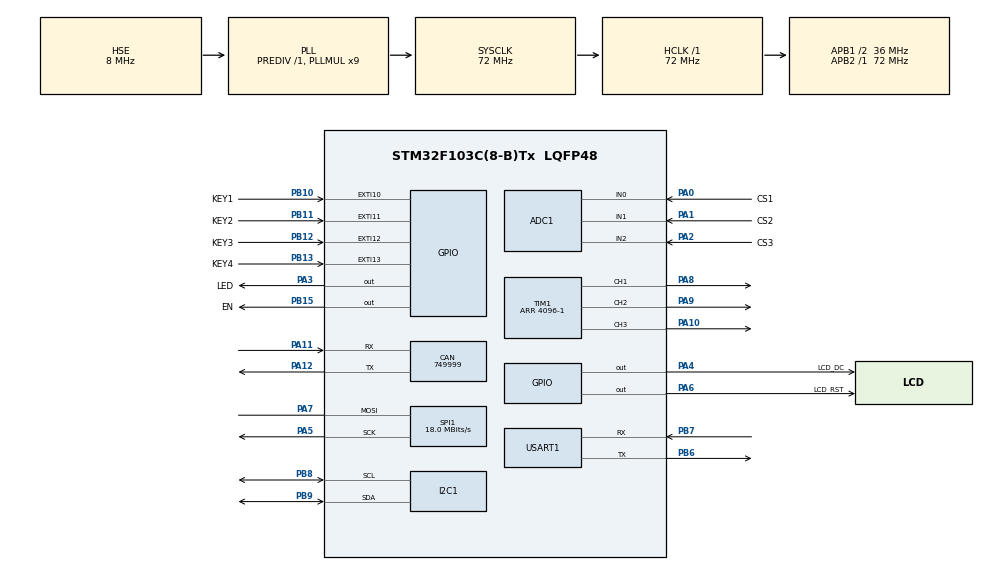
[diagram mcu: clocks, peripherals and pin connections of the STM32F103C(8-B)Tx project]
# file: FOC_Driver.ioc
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ADC1.Channel-0\#ChannelRegularConversion=ADC_CHANNEL_0
ADC1.Channel-1\#ChannelRegularConversion=ADC_CHANNEL_1
ADC1.Channel-2\#ChannelRegularConversion=ADC_CHANNEL_2
ADC1.DiscontinuousConvMode=ENABLE
ADC1.ExternalTrigConv=ADC_SOFTWARE_START
ADC1.NbrOfConversion=3
ADC1.NbrOfConversionFlag=1
ADC1.Rank-0\#ChannelRegularConversion=1
ADC1.Rank-1\#ChannelRegularConversion=2
ADC1.Rank-2\#ChannelRegularConversion=3
ADC1.SamplingTime-0\#ChannelRegularConversion=ADC_SAMPLETIME_7CYCLES_5
ADC1.SamplingTime-1\#ChannelRegularConversion=ADC_SAMPLETIME_7CYCLES_5
ADC1.SamplingTime-2\#ChannelRegularConversion=ADC_SAMPLETIME_7CYCLES_5
ADC1.master=1
CAN.CalculateBaudRate=749999
CAN.CalculateTimeBit=1333
CAN.CalculateTimeQuantum=444.44444444444446
FREERTOS.HEAP_NUMBER=4
FREERTOS.INCLUDE_vTaskDelayUntil=1
FREERTOS.Tasks01=defaultTask,-3,64,StartDefaultTask,Default,NULL,Dynamic,NULL,NULL
FREERTOS.configMINIMAL_STACK_SIZE=64
FREERTOS.configTOTAL_HEAP_SIZE=12000
FREERTOS.configUSE_NEWLIB_REENTRANT=1
I2C1.I2C_Mode=I2C_Fast
Mcu.Family=STM32F1
Mcu.Name=STM32F103C(8-B)Tx
Mcu.Package=LQFP48
NVIC.EXTI15_10_IRQn=true\:5\:0\:false\:false\:true\:true\:true\:true\:true
NVIC.PriorityGroup=NVIC_PRIORITYGROUP_4
NVIC.TIM4_IRQn=true\:15\:0\:false\:false\:true\:false\:false\:true\:true
NVIC.TimeBase=TIM4_IRQn
NVIC.TimeBaseIP=TIM4
PA0-WKUP.GPIO_Label=CS1
PA0-WKUP.Signal=SharedAnalog_PA0
PA1.GPIO_Label=CS2
PA1.Signal=SharedAnalog_PA1
PA10.Signal=S_TIM1_CH3
PA11.Mode=CAN_Activate
PA11.Signal=CAN_RX
PA12.Mode=CAN_Activate
PA12.Signal=CAN_TX
PA13.Mode=Serial_Wire
PA13.Signal=SYS_JTMS-SWDIO
PA14.Mode=Serial_Wire
PA14.Signal=SYS_JTCK-SWCLK
PA2.GPIO_Label=CS3
PA2.Signal=SharedAnalog_PA2
PA3.GPIO_Label=LED
PA3.Signal=GPIO_Output
PA4.GPIO_Label=LCD_DC
PA4.Signal=GPIO_Output
PA5.Mode=Simplex_Bidirectional_Master
PA5.Signal=SPI1_SCK
PA6.GPIO_Label=LCD_RST
PA6.Signal=GPIO_Output
PA7.Mode=Simplex_Bidirectional_Master
PA7.Signal=SPI1_MOSI
PA8.Signal=S_TIM1_CH1
PA9.Signal=S_TIM1_CH2
PB10.GPIO_Label=KEY1
PB10.GPIO_ModeDefaultEXTI=GPIO_MODE_IT_FALLING
PB10.Signal=GPXTI10
PB11.GPIO_Label=KEY2
PB11.GPIO_ModeDefaultEXTI=GPIO_MODE_IT_FALLING
PB11.Signal=GPXTI11
PB12.GPIO_Label=KEY3
PB12.GPIO_ModeDefaultEXTI=GPIO_MODE_IT_FALLING
PB12.Signal=GPXTI12
PB13.GPIO_Label=KEY4
PB13.GPIO_ModeDefaultEXTI=GPIO_MODE_IT_FALLING
PB13.Signal=GPXTI13
PB15.GPIO_Label=EN
PB15.Signal=GPIO_Output
PB6.Mode=Asynchronous
PB6.Signal=USART1_TX
PB7.Mode=Asynchronous
PB7.Signal=USART1_RX
PB8.Mode=I2C
PB8.Signal=I2C1_SCL
PB9.Mode=I2C
PB9.Signal=I2C1_SDA
PD0-OSC_IN.Mode=HSE-External-Oscillator
PD0-OSC_IN.Signal=RCC_OSC_IN
PD1-OSC_OUT.Mode=HSE-External-Oscillator
PD1-OSC_OUT.Signal=RCC_OSC_OUT
ProjectManager.HeapSize=0x200
ProjectManager.StackSize=0x400
ProjectManager.TargetToolchain=STM32CubeIDE
RCC.ADCPresc=RCC_ADCPCLK2_DIV6
RCC.AHBFreq_Value=72000000
RCC.APB1CLKDivider=RCC_HCLK_DIV2
RCC.APB1Freq_Value=36000000
RCC.APB1TimFreq_Value=72000000
RCC.APB2Freq_Value=72000000
RCC.APB2TimFreq_Value=72000000
RCC.HCLKFreq_Value=72000000
RCC.PLLMUL=RCC_PLL_MUL9
RCC.PLLSourceVirtual=RCC_PLLSOURCE_HSE
RCC.SYSCLKFreq_VALUE=72000000
RCC.SYSCLKSource=RCC_SYSCLKSOURCE_PLLCLK
RCC.USBFreq_Value=72000000
SH.S_TIM1_CH1.0=TIM1_CH1,PWM Generation1 CH1
SH.S_TIM1_CH2.0=TIM1_CH2,PWM Generation2 CH2
SH.S_TIM1_CH3.0=TIM1_CH3,PWM Generation3 CH3
SH.SharedAnalog_PA0.0=GPIO_Analog
SH.SharedAnalog_PA0.1=ADC1_IN0,IN0
SH.SharedAnalog_PA1.0=GPIO_Analog
SH.SharedAnalog_PA1.1=ADC1_IN1,IN1
SH.SharedAnalog_PA2.0=GPIO_Analog
SH.SharedAnalog_PA2.1=ADC1_IN2,IN2
SPI1.BaudRatePrescaler=SPI_BAUDRATEPRESCALER_4
SPI1.CalculateBaudRate=18.0 MBits/s
SPI1.Direction=SPI_DIRECTION_1LINE
SPI1.Mode=SPI_MODE_MASTER
SPI1.VirtualType=VM_MASTER
TIM1.Channel-PWM\ Generation1\ CH1=TIM_CHANNEL_1
TIM1.Channel-PWM\ Generation2\ CH2=TIM_CHANNEL_2
TIM1.Channel-PWM\ Generation3\ CH3=TIM_CHANNEL_3
TIM1.CounterMode=TIM_COUNTERMODE_CENTERALIGNED2
TIM1.Period=4096-1
TIM1.TIM_MasterSlaveMode=TIM_MASTERSLAVEMODE_DISABLE
USART1.VirtualMode=VM_ASYNC
VP_FREERTOS_VS_CMSIS_V1.Mode=CMSIS_V1
VP_SYS_VS_tim4.Mode=TIM4
VP_TIM1_VS_ClockSourceINT.Mode=Internal
board=custom

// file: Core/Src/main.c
/* USER CODE BEGIN Header */
/**
  ******************************************************************************
  * @file           : main.c
  * @brief          : Main program body
  ******************************************************************************
  * @attention
  *
  * Copyright (c) 2022 STMicroelectronics.
  * All rights reserved.
  *
  * This software is licensed under terms that can be found in the LICENSE file
  * in the root directory of this software component.
  * If no LICENSE file comes with this software, it is provided AS-IS.
  *
  ******************************************************************************
  */
/* USER CODE END Header */
#include "main.h"
#include "cmsis_os.h"
#include "adc.h"
#include "can.h"
#include "i2c.h"
#include "spi.h"
#include "tim.h"
#include "usart.h"
#include "gpio.h"

/* USER CODE BEGIN Includes */
#include <stdio.h>
#include <string.h>
#include <stdlib.h>

#include "FOC.h"
#include "FOC_utils.h"
#include "AS5600.h"
#include "current_sense.h"

#include "gui.h"
#include "st7735.h"

#include "bsp_button.h"
/* USER CODE END Includes */

void SystemClock_Config(void);
void MX_FREERTOS_Init(void);

int main(void)
{

  /* MCU Configuration--------------------------------------------------------*/

  /* Reset of all peripherals, Initializes the Flash interface and the Systick. */
  HAL_Init();

  /* Configure the system clock */
  SystemClock_Config();

  /* Initialize all configured peripherals */
  MX_GPIO_Init();
  MX_ADC1_Init();
  MX_CAN_Init();
  MX_I2C1_Init();
  MX_SPI1_Init();
  MX_TIM1_Init();
  MX_USART1_UART_Init();
  /* USER CODE BEGIN 2 */
    ST7735_Init();

    gui_draw_init("FOC init", 1);
    FOC_init();

    gui_draw_init("CS init", 0);
    cs_init();

    gui_draw_init("Calibrating", 0);
    FOC_electrical_angle_calibration();
  /* USER CODE END 2 */

  /* Call init function for freertos objects (in freertos.c) */
  MX_FREERTOS_Init();

  /* Start scheduler */
  osKernelStart();

  /* We should never get here as control is now taken by the scheduler */
  /* Infinite loop */
  /* USER CODE BEGIN WHILE */
    while (1) {

//            char display_string[40];
//            char display_number[20];

//
//            strcpy(display_string, "ElectricalAngle:");
//            itoa((int) (angle * _RADIAN_TO_DEGREE), display_number, 10);
//            strcat(display_string, display_number);
//            ST7735_WriteString(0, 36, display_string, Font_7x10, ST7735_RED, ST7735_WHITE);
//
//            strcpy(display_string, "MechanicalAngle:");
//            itoa(mechanical_angle, display_number, 10);
//            strcat(display_string, display_number);
//            ST7735_WriteString(0, 46, display_string, Font_7x10, ST7735_RED, ST7735_WHITE);
//
//            itoa((int16_t)cs_value[0] - 2030, display_string,10);
//            ST7735_WriteString(0, 56, display_string, Font_7x10, ST7735_RED, ST7735_WHITE);
//
//            itoa((int16_t)cs_value[1] - 2030, display_string,10);
//            ST7735_WriteString(0, 66, display_string, Font_7x10, ST7735_RED, ST7735_WHITE);
//
//            itoa((int16_t)cs_value[2] - 2030, display_string,10);
//            ST7735_WriteString(0, 76, display_string, Font_7x10, ST7735_RED, ST7735_WHITE);
//        HAL_Delay(1);

    /* USER CODE END WHILE */

    }
}

void SystemClock_Config(void)
{
  RCC_OscInitTypeDef RCC_OscInitStruct = {0};
  RCC_ClkInitTypeDef RCC_ClkInitStruct = {0};
  RCC_PeriphCLKInitTypeDef PeriphClkInit = {0};

  /** Initializes the RCC Oscillators according to the specified parameters
  * in the RCC_OscInitTypeDef structure.
  */
  RCC_OscInitStruct.OscillatorType = RCC_OSCILLATORTYPE_HSE;
  RCC_OscInitStruct.HSEState = RCC_HSE_ON;
  RCC_OscInitStruct.HSEPredivValue = RCC_HSE_PREDIV_DIV1;
  RCC_OscInitStruct.HSIState = RCC_HSI_ON;
  RCC_OscInitStruct.PLL.PLLState = RCC_PLL_ON;
  RCC_OscInitStruct.PLL.PLLSource = RCC_PLLSOURCE_HSE;
  RCC_OscInitStruct.PLL.PLLMUL = RCC_PLL_MUL9;
  if (HAL_RCC_OscConfig(&RCC_OscInitStruct) != HAL_OK)
  {
    Error_Handler();
  }

  /** Initializes the CPU, AHB and APB buses clocks
  */
  RCC_ClkInitStruct.ClockType = RCC_CLOCKTYPE_HCLK|RCC_CLOCKTYPE_SYSCLK
                              |RCC_CLOCKTYPE_PCLK1|RCC_CLOCKTYPE_PCLK2;
  RCC_ClkInitStruct.SYSCLKSource = RCC_SYSCLKSOURCE_PLLCLK;
  RCC_ClkInitStruct.AHBCLKDivider = RCC_SYSCLK_DIV1;
  RCC_ClkInitStruct.APB1CLKDivider = RCC_HCLK_DIV2;
  RCC_ClkInitStruct.APB2CLKDivider = RCC_HCLK_DIV1;

  if (HAL_RCC_ClockConfig(&RCC_ClkInitStruct, FLASH_LATENCY_2) != HAL_OK)
  {
    Error_Handler();
  }
  PeriphClkInit.PeriphClockSelection = RCC_PERIPHCLK_ADC;
  PeriphClkInit.AdcClockSelection = RCC_ADCPCLK2_DIV6;
  if (HAL_RCCEx_PeriphCLKConfig(&PeriphClkInit) != HAL_OK)
  {
    Error_Handler();
  }
}

void HAL_TIM_PeriodElapsedCallback(TIM_HandleTypeDef *htim)
{
  if (htim->Instance == TIM4) {
    HAL_IncTick();
  }
  /* USER CODE BEGIN Callback 1 */
//    if (htim->Instance == TIM1) {
//        if(__HAL_TIM_IS_TIM_COUNTING_DOWN(htim)) {
//            cs_get_value();
//        }
//    }
  /* USER CODE END Callback 1 */
}

void Error_Handler(void)
{
    __disable_irq();
    while (1) {
    }
}

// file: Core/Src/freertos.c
/* USER CODE BEGIN Header */
/**
  ******************************************************************************
  * File Name          : freertos.c
  * Description        : Code for freertos applications
  ******************************************************************************
  * @attention
  *
  * Copyright (c) 2022 STMicroelectronics.
  * All rights reserved.
  *
  * This software is licensed under terms that can be found in the LICENSE file
  * in the root directory of this software component.
  * If no LICENSE file comes with this software, it is provided AS-IS.
  *
  ******************************************************************************
  */
/* USER CODE END Header */

#include "FreeRTOS.h"
#include "task.h"
#include "main.h"
#include "cmsis_os.h"

/* USER CODE BEGIN Includes */
#include <stdio.h>
#include <string.h>
#include <stdlib.h>

#include "FOC.h"
#include "FOC_utils.h"
#include "FOC_conf.h"
#include "current_sense.h"

#include "gui.h"

#include "bsp_button.h"
/* USER CODE END Includes */

/* USER CODE BEGIN Variables */
static TaskHandle_t taskSelectTaskHandle = NULL;
static TaskHandle_t openLoopPosControlTaskHandle = NULL;
static TaskHandle_t openLoopVelControlTaskHandle = NULL;
static TaskHandle_t torqueControlTaskHandle = NULL;
static TaskHandle_t velocityControlTaskHandle = NULL;
static TaskHandle_t positionControlTaskHandle = NULL;
static TaskHandle_t springTaskHandle = NULL;
static TaskHandle_t knobTaskHandle = NULL;
static TaskHandle_t zeroResistanceTaskHandle = NULL;

PID_Datatype *spring_pid;
/* USER CODE END Variables */
osThreadId defaultTaskHandle;

/* USER CODE BEGIN FunctionPrototypes */
void SuspendToRunOtherTask(TaskHandle_t other_task);

void TaskSelectTask(void *argument);

void OpenLoopPosControlTask(void *argument);

void OpenLoopVelControlTask(void *argument);

void TorqueControlTask(void *argument);

void VelocityControlTask(void *argument);

void PositionControlTask(void *argument);

void SpringTask(void *argument);

void DampTask(void *argument);

void KnobTask(void *argument);

/* USER CODE END FunctionPrototypes */

void StartDefaultTask(void const * argument);

void MX_FREERTOS_Init(void); /* (MISRA C 2004 rule 8.1) */

/* GetIdleTaskMemory prototype (linked to static allocation support) */
void vApplicationGetIdleTaskMemory( StaticTask_t **ppxIdleTaskTCBBuffer, StackType_t **ppxIdleTaskStackBuffer, uint32_t *pulIdleTaskStackSize );

/* USER CODE BEGIN GET_IDLE_TASK_MEMORY */
static StaticTask_t xIdleTaskTCBBuffer;
static StackType_t xIdleStack[configMINIMAL_STACK_SIZE];

void vApplicationGetIdleTaskMemory(StaticTask_t **ppxIdleTaskTCBBuffer, StackType_t **ppxIdleTaskStackBuffer,
                                   uint32_t *pulIdleTaskStackSize) {
    *ppxIdleTaskTCBBuffer = &xIdleTaskTCBBuffer;
    *ppxIdleTaskStackBuffer = &xIdleStack[0];
    *pulIdleTaskStackSize = configMINIMAL_STACK_SIZE;
    /* place for user code */
}
/* USER CODE END GET_IDLE_TASK_MEMORY */

void MX_FREERTOS_Init(void) {
  /* USER CODE BEGIN Init */
    xTaskCreate(OpenLoopPosControlTask, "OpenPos", 64, NULL, 6, &openLoopPosControlTaskHandle);
    vTaskSuspend(openLoopPosControlTaskHandle);

    xTaskCreate(OpenLoopVelControlTask, "OpenVel", 64, NULL, 6, &openLoopVelControlTaskHandle);
    vTaskSuspend(openLoopVelControlTaskHandle);

    xTaskCreate(TorqueControlTask, "TorCtrl", 128, NULL, 6, &torqueControlTaskHandle);
    vTaskSuspend(torqueControlTaskHandle);

    xTaskCreate(VelocityControlTask, "VelCtrl", 64, NULL, 6, &velocityControlTaskHandle);
    vTaskSuspend(velocityControlTaskHandle);

    xTaskCreate(PositionControlTask, "PosCtrl", 64, NULL, 6, &positionControlTaskHandle);
    vTaskSuspend(positionControlTaskHandle);

    xTaskCreate(SpringTask, "Spring", 64, NULL, 6, &springTaskHandle);
    vTaskSuspend(springTaskHandle);

    xTaskCreate(KnobTask, "Knob", 64, NULL, 6, &knobTaskHandle);
    vTaskSuspend(knobTaskHandle);

    xTaskCreate(TaskSelectTask, "Select", 64, NULL, 6, &taskSelectTaskHandle);

  /* USER CODE END Init */

  /* Create the thread(s) */
  /* definition and creation of defaultTask */
  osThreadDef(defaultTask, StartDefaultTask, osPriorityIdle, 0, 64);
  defaultTaskHandle = osThreadCreate(osThread(defaultTask), NULL);

}

void StartDefaultTask(void const * argument)
{
    for (;;) {
        osDelay(1);
    }
}

/* USER CODE BEGIN Application */
void SuspendToRunOtherTask(TaskHandle_t other_task) {
    if (other_task == taskSelectTaskHandle) {
        HAL_GPIO_WritePin(LED_GPIO_Port, LED_Pin, GPIO_PIN_SET);
    } else {
        HAL_GPIO_WritePin(LED_GPIO_Port, LED_Pin, GPIO_PIN_RESET);
    }
    button_reset_all_flags();
    FOC_SVPWM(0, 0, 0);
    vTaskResume(other_task);
    vTaskSuspend(NULL);
}

void TaskSelectTask(void *argument) {
    FOC_CONTROL_MODE mode = OPEN_LOOP_POSITION_CONTROL;
    portENTER_CRITICAL();
    gui_draw_mode_selection(mode);
    portEXIT_CRITICAL();
    TickType_t xLastWakeTime = xTaskGetTickCount();

    HAL_GPIO_WritePin(LED_GPIO_Port, LED_Pin, GPIO_PIN_SET);
    while (1) {
        if (button_press_pending_flag) {
            if (button_left_press_pending_flag) {
                if (mode) mode--;
                else mode = FOC_CONTROL_MODE_NUM - 1;
                gui_draw_mode_selection(mode);

            } else if (button_right_press_pending_flag) {
                mode++;
                if (mode > FOC_CONTROL_MODE_NUM - 1) mode = 0;
                gui_draw_mode_selection(mode);

            } else if (button_confirm_press_pending_flag) {
                switch (mode) {
                    case OPEN_LOOP_POSITION_CONTROL:
                        SuspendToRunOtherTask(openLoopPosControlTaskHandle);
                        break;
                    case OPEN_LOOP_SPEED_CONTROL:
                        SuspendToRunOtherTask(openLoopVelControlTaskHandle);
                        break;
                    case TORQUE_CONTROL:
                        SuspendToRunOtherTask(torqueControlTaskHandle);
                        break;
                    case SPEED_CONTROL:
                        SuspendToRunOtherTask(velocityControlTaskHandle);
                        break;
                    case POSITION_CONTROL:;
                        SuspendToRunOtherTask(positionControlTaskHandle);
                        break;
                    case SPRING:
                        spring_pid = &pid_spring;
                        SuspendToRunOtherTask(springTaskHandle);
                        break;
                    case SPRING_WITH_DAMP:
                        spring_pid = &pid_spring_with_damp;
                        SuspendToRunOtherTask(springTaskHandle);
                        break;
                    case DAMP:
                        spring_pid = &pid_damp;
                        SuspendToRunOtherTask(springTaskHandle);
                        break;
                    case KNOB:
                        SuspendToRunOtherTask(knobTaskHandle);
                        break;
                    case ZERO_RESISTANCE:
                        spring_pid = &pid_zero_resistance;
                        SuspendToRunOtherTask(springTaskHandle);
                        break;
                }
                gui_draw_mode_selection(mode);
                continue;
            }

            button_reset_all_flags();
        }

        vTaskDelayUntil(&xLastWakeTime,
                        10);
    }
}

void OpenLoopPosControlTask(void *argument) {
    float angle = 0, Ud = 1;
    TickType_t xLastWakeTime = xTaskGetTickCount();

    while (1) {
        if (button_press_pending_flag) {
            if (button_left_press_pending_flag) {
                angle -= _PI_2;
            } else if (button_right_press_pending_flag) {
                angle += _PI_2;
            } else if (button_cancel_press_pending_flag) {
                SuspendToRunOtherTask(taskSelectTaskHandle);
                continue;
            }
            button_reset_all_flags();
        }

        FOC_SVPWM(0, Ud, angle);
        vTaskDelayUntil(&xLastWakeTime,
                        1); // every FOC control task need at least 1ms delay otherwise cannot detect key press normally
    }
}

void OpenLoopVelControlTask(void *argument) {
    float angle = 0, Ud = 1, delta_angle = 0;
    TickType_t xLastWakeTime = xTaskGetTickCount();
    while (1) {
        if (button_press_pending_flag) {
            if (button_left_press_pending_flag) {
                delta_angle -= 0.01;
                if (delta_angle < -_PI) delta_angle = -_PI;
            } else if (button_right_press_pending_flag) {
                delta_angle += 0.01;
                if (delta_angle > _PI) delta_angle = _PI;
            } else if (button_cancel_press_pending_flag) {
                SuspendToRunOtherTask(taskSelectTaskHandle);
                continue;
            }
            button_reset_all_flags();
        }
        angle += delta_angle;
        FOC_SVPWM(0, Ud, angle);
        vTaskDelayUntil(&xLastWakeTime,
                        1); // every FOC control task need at least 1ms delay otherwise cannot detect key press normally
    }
}

#ifdef FOC_MODE_VOLTAGE_CONTROL
void TorqueControlTask(void *argument) {
    TickType_t xLastWakeTime = xTaskGetTickCount();
    float Uq = 0;

    while (1) {
        if (button_press_pending_flag) {
            if (button_left_press_pending_flag) {
                Uq -= 1.0;
            } else if (button_right_press_pending_flag) {
                Uq += 1.0;
            } else if (button_cancel_press_pending_flag) {
                SuspendToRunOtherTask(taskSelectTaskHandle);
                continue;
            }
            button_reset_all_flags();
        }
        FOC_open_loop_voltage_control_loop(Uq);

        vTaskDelayUntil(&xLastWakeTime,
                        1); // every FOC control task need at least 1ms delay otherwise cannot detect key press normally
    }
}
#endif
#ifdef FOC_MODE_CURRENT_CONTROL
void TorqueControlTask(void *argument) {
    TickType_t xLastWakeTime = xTaskGetTickCount();
    float Iq = 0;

    while (1) {
        if (button_press_pending_flag) {
            if (button_left_press_pending_flag) {
                Iq -= 100.0;
            } else if (button_right_press_pending_flag) {
                Iq += 100.0;
            } else if (button_cancel_press_pending_flag) {
                SuspendToRunOtherTask(taskSelectTaskHandle);
                continue;
            }
            button_reset_all_flags();
        }
        FOC_current_control_loop(Iq);

        //vTaskDelayUntil(&xLastWakeTime,
//                        1); // every FOC control task need at least 1ms delay otherwise cannot detect key press normally
    }
}
#endif

void VelocityControlTask(void *argument) {
    float velocity = 0;
    TickType_t xLastWakeTime = xTaskGetTickCount();

    while (1) {
        if (button_press_pending_flag) {
            if (button_left_press_pending_flag) {
                velocity -= 5;
            } else if (button_right_press_pending_flag) {
                velocity += 5;
            } else if (button_cancel_press_pending_flag) {
                SuspendToRunOtherTask(taskSelectTaskHandle);
                continue;
            }
            button_reset_all_flags();
        }

        FOC_velocity_control_loop(velocity);
        vTaskDelayUntil(&xLastWakeTime,
                        1); // every FOC control task need at least 1ms delay otherwise cannot detect key press normally
    }
}

void PositionControlTask(void *argument) {
    float angle = 0;
    TickType_t xLastWakeTime = xTaskGetTickCount();
    gui_draw_position_mode(angle, 1);

    while (1) {
        if (button_press_pending_flag) {
            if (button_left_press_pending_flag) {
                angle -= _PI_2;
            } else if (button_right_press_pending_flag) {
                angle += _PI_2;
            } else if (button_cancel_press_pending_flag) {
                SuspendToRunOtherTask(taskSelectTaskHandle);
                gui_draw_position_mode(angle, 1);
                continue;
            }
            button_reset_all_flags();
            gui_draw_position_mode(angle, 0);
        }

        FOC_position_control_loop(angle);
        vTaskDelayUntil(&xLastWakeTime,
                        1); // every FOC control task need at least 1ms delay otherwise cannot detect key press normally
    }
}

void SpringTask(void *argument) {
    TickType_t xLastWakeTime = xTaskGetTickCount();
    while (1) {
        if (button_press_pending_flag) {
            if (button_cancel_press_pending_flag) {
                SuspendToRunOtherTask(taskSelectTaskHandle);
                continue;
            }
            button_reset_all_flags();
        }
        FOC_spring_loop(0, spring_pid);
        vTaskDelayUntil(&xLastWakeTime,
                        1); // every FOC control task need at least 1ms delay otherwise cannot detect key press normally
    }
}

void DampTask(void *argument) {

}

void KnobTask(void *argument) {
    TickType_t xLastWakeTime = xTaskGetTickCount();

    // Settings
    uint8_t select_param = 0;
    const uint8_t max_select_param = 3;
    uint8_t change_param = 0;

    uint8_t values[3] = {4, 5, 4}; // [0]: sector_num [1]: k [2]: max_force

    pid_knob.Kp = values[1];
    pid_knob.max_u = values[2];
    pid_knob.min_u = -values[2];
    gui_draw_knob_mode(values[0], values[1], values[2], select_param, change_param, 1);

    while (1) {
        if (button_press_pending_flag) {
            if (button_confirm_press_pending_flag) {
                if(select_param){
                    change_param = !change_param;
                }
            } else if (button_left_press_pending_flag) {
                if(change_param){
                    values[select_param - 1] --;

                    // reconfigure
                    pid_knob.Kp = values[1];
                    pid_knob.max_u = values[2];
                    pid_knob.min_u = -values[2];
                    gui_draw_knob_mode(values[0], values[1], values[2], select_param, change_param, 0);
                }else{
                    if (select_param == 0) {
                        select_param = max_select_param;
                    } else select_param--;
                }
            } else if (button_right_press_pending_flag) {
                if(change_param){
                    values[select_param - 1] ++;

                    // reconfigure
                    pid_knob.Kp = values[1];
                    pid_knob.max_u = values[2];
                    pid_knob.min_u = -values[2];
                    gui_draw_knob_mode(values[0], values[1], values[2], select_param, change_param, 0);
                }else{
                    if (select_param == max_select_param) {
                        select_param = 0;
                    } else select_param++;
                }
            } else if (button_cancel_press_pending_flag) {
                SuspendToRunOtherTask(taskSelectTaskHandle);
                gui_draw_knob_mode(values[0], values[1], values[2], select_param, change_param, 1);
                continue;
            }
            button_reset_all_flags();
            gui_draw_knob_mode(values[0], values[1], values[2], select_param, change_param, 0);
        }

        FOC_knob_loop(values[0]);
        vTaskDelayUntil(&xLastWakeTime,
                        1); // every FOC control task need at least 1ms delay otherwise cannot detect key press normally
    }
}

/* USER CODE END Application */
